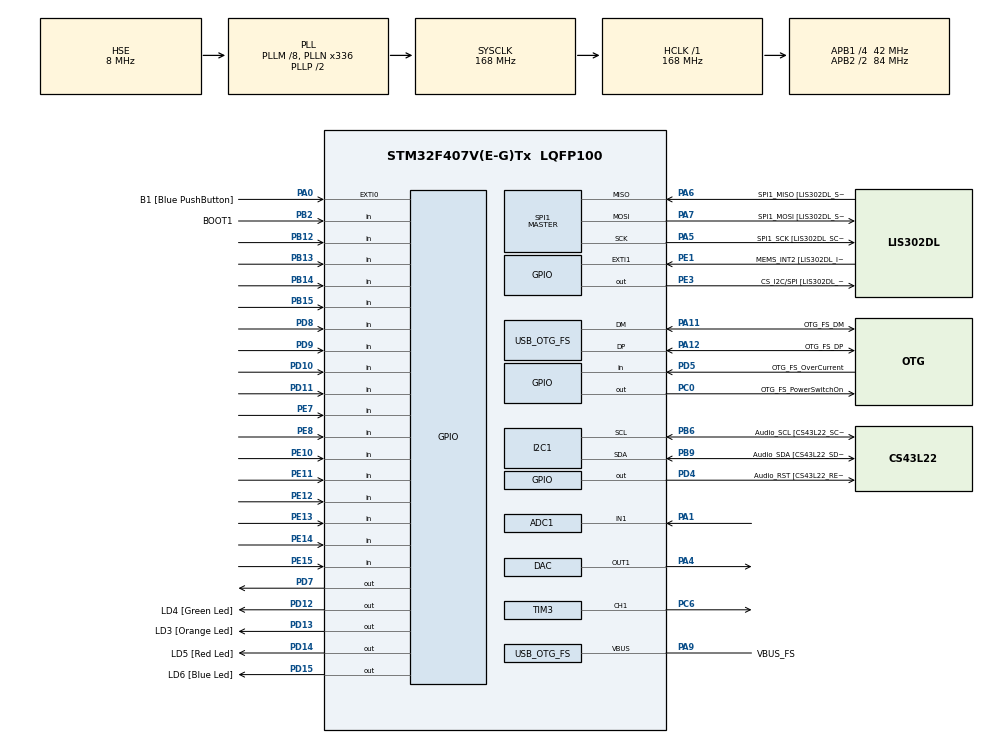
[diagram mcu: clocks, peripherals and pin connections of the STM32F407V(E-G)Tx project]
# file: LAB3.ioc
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ADC1.Channel-0\#ChannelRegularConversion=ADC_CHANNEL_1
ADC1.NbrOfConversionFlag=1
ADC1.Rank-0\#ChannelRegularConversion=1
ADC1.Resolution=ADC_RESOLUTION_10B
ADC1.SamplingTime-0\#ChannelRegularConversion=ADC_SAMPLETIME_3CYCLES
ADC1.master=1
FREERTOS.Tasks01=defaultTask,0,128,StartDefaultTask,Default,NULL
Mcu.Family=STM32F4
Mcu.Name=STM32F407V(E-G)Tx
Mcu.Package=LQFP100
NVIC.ADC_IRQn=true\:5\:0\:false\:false\:true\:true\:true
NVIC.OTG_FS_IRQn=true\:5\:0\:false\:false\:true\:true\:true
NVIC.PriorityGroup=NVIC_PRIORITYGROUP_4
NVIC.TIM1_UP_TIM10_IRQn=true\:0\:0\:false\:false\:true\:false\:true
NVIC.TimeBase=TIM1_UP_TIM10_IRQn
NVIC.TimeBaseIP=TIM1
PA0-WKUP.GPIO_Label=B1 [Blue PushButton]
PA0-WKUP.GPIO_ModeDefaultEXTI=GPIO_MODE_EVT_RISING
PA0-WKUP.GPIO_PuPd=GPIO_NOPULL
PA0-WKUP.Signal=GPXTI0
PA1.Signal=ADCx_IN1
PA10.GPIO_Label=OTG_FS_ID
PA10.GPIO_Mode=GPIO_MODE_AF_PP
PA10.GPIO_PuPd=GPIO_NOPULL
PA10.GPIO_Speed=GPIO_SPEED_FREQ_LOW
PA10.Signal=USB_OTG_FS_ID
PA11.GPIO_Label=OTG_FS_DM
PA11.GPIO_Mode=GPIO_MODE_AF_PP
PA11.GPIO_PuPd=GPIO_NOPULL
PA11.GPIO_Speed=GPIO_SPEED_FREQ_LOW
PA11.Mode=Host_Only
PA11.Signal=USB_OTG_FS_DM
PA12.GPIO_Label=OTG_FS_DP
PA12.GPIO_Mode=GPIO_MODE_AF_PP
PA12.GPIO_PuPd=GPIO_NOPULL
PA12.GPIO_Speed=GPIO_SPEED_FREQ_LOW
PA12.Mode=Host_Only
PA12.Signal=USB_OTG_FS_DP
PA13.GPIO_Label=SWDIO
PA13.Mode=Serial_Wire
PA13.Signal=SYS_JTMS-SWDIO
PA14.GPIO_Label=SWCLK
PA14.Mode=Serial_Wire
PA14.Signal=SYS_JTCK-SWCLK
PA4.Signal=COMP_DAC1_group
PA5.GPIO_Label=SPI1_SCK [LIS302DL_SCL/SPC]
PA5.GPIO_Mode=GPIO_MODE_AF_PP
PA5.GPIO_PuPd=GPIO_NOPULL
PA5.GPIO_Speed=GPIO_SPEED_FREQ_LOW
PA5.Mode=Full_Duplex_Master
PA5.Signal=SPI1_SCK
PA6.GPIO_Label=SPI1_MISO [LIS302DL_SDO]
PA6.GPIO_Mode=GPIO_MODE_AF_PP
PA6.GPIO_PuPd=GPIO_NOPULL
PA6.GPIO_Speed=GPIO_SPEED_FREQ_LOW
PA6.Mode=Full_Duplex_Master
PA6.Signal=SPI1_MISO
PA7.GPIO_Label=SPI1_MOSI [LIS302DL_SDA/SDI/SDO]
PA7.GPIO_Mode=GPIO_MODE_AF_PP
PA7.GPIO_PuPd=GPIO_NOPULL
PA7.GPIO_Speed=GPIO_SPEED_FREQ_LOW
PA7.Mode=Full_Duplex_Master
PA7.Signal=SPI1_MOSI
PA9.GPIO_Label=VBUS_FS
PA9.GPIO_Mode=GPIO_MODE_INPUT
PA9.GPIO_PuPd=GPIO_NOPULL
PA9.Mode=Activate_VBUS
PA9.Signal=USB_OTG_FS_VBUS
PB10.GPIO_Label=CLK_IN [MP45DT02_CLK]
PB10.GPIO_Mode=GPIO_MODE_AF_PP
PB10.GPIO_PuPd=GPIO_NOPULL
PB10.GPIO_Speed=GPIO_SPEED_FREQ_LOW
PB10.Signal=I2S2_CK
PB12.Signal=GPIO_Input
PB13.Signal=GPIO_Input
PB14.Signal=GPIO_Input
PB15.Signal=GPIO_Input
PB2.GPIO_Label=BOOT1
PB2.GPIO_Mode=GPIO_MODE_INPUT
PB2.GPIO_PuPd=GPIO_NOPULL
PB2.Signal=GPIO_Input
PB3.GPIO_Label=SWO
PB3.Signal=SYS_JTDO-SWO
PB6.GPIO_Label=Audio_SCL [CS43L22_SCL]
PB6.GPIO_Mode=GPIO_MODE_AF_OD
PB6.GPIO_PuPd=GPIO_NOPULL
PB6.GPIO_Speed=GPIO_SPEED_FREQ_LOW
PB6.Mode=I2C
PB6.Signal=I2C1_SCL
PB9.GPIO_Label=Audio_SDA [CS43L22_SDA]
PB9.GPIO_Mode=GPIO_MODE_AF_OD
PB9.GPIO_PuPd=GPIO_NOPULL
PB9.GPIO_Speed=GPIO_SPEED_FREQ_LOW
PB9.Mode=I2C
PB9.Signal=I2C1_SDA
PC0.GPIO_Label=OTG_FS_PowerSwitchOn
PC0.GPIO_PuPd=GPIO_NOPULL
PC0.GPIO_Speed=GPIO_SPEED_FREQ_LOW
PC0.PinState=GPIO_PIN_SET
PC0.Signal=GPIO_Output
PC10.GPIO_Label=I2S3_SCK [CS43L22_SCLK]
PC10.GPIO_Mode=GPIO_MODE_AF_PP
PC10.GPIO_PuPd=GPIO_NOPULL
PC10.GPIO_Speed=GPIO_SPEED_FREQ_LOW
PC10.Signal=I2S3_CK
PC12.GPIO_Label=I2S3_SD [CS43L22_SDIN]
PC12.GPIO_Mode=GPIO_MODE_AF_PP
PC12.GPIO_PuPd=GPIO_NOPULL
PC12.GPIO_Speed=GPIO_SPEED_FREQ_LOW
PC12.Signal=I2S3_SD
PC14-OSC32_IN.GPIO_Label=PC14-OSC32_IN
PC14-OSC32_IN.Mode=LSE-External-Oscillator
PC14-OSC32_IN.Signal=RCC_OSC32_IN
PC15-OSC32_OUT.GPIO_Label=PC15-OSC32_OUT
PC15-OSC32_OUT.Mode=LSE-External-Oscillator
PC15-OSC32_OUT.Signal=RCC_OSC32_OUT
PC3.GPIO_Label=PDM_OUT [MP45DT02_DOUT]
PC3.GPIO_Mode=GPIO_MODE_AF_PP
PC3.GPIO_PuPd=GPIO_NOPULL
PC3.GPIO_Speed=GPIO_SPEED_FREQ_LOW
PC3.Signal=I2S2_SD
PC6.Signal=S_TIM3_CH1
PC7.GPIO_Label=I2S3_MCK [CS43L22_MCLK]
PC7.GPIO_Mode=GPIO_MODE_AF_PP
PC7.GPIO_PuPd=GPIO_NOPULL
PC7.GPIO_Speed=GPIO_SPEED_FREQ_LOW
PC7.Signal=I2S3_MCK
PD10.Signal=GPIO_Input
PD11.Signal=GPIO_Input
PD12.GPIO_Label=LD4 [Green Led]
PD12.GPIO_PuPd=GPIO_NOPULL
PD12.GPIO_Speed=GPIO_SPEED_FREQ_LOW
PD12.Signal=GPIO_Output
PD13.GPIO_Label=LD3 [Orange Led]
PD13.GPIO_PuPd=GPIO_NOPULL
PD13.GPIO_Speed=GPIO_SPEED_FREQ_LOW
PD13.Signal=GPIO_Output
PD14.GPIO_Label=LD5 [Red Led]
PD14.GPIO_PuPd=GPIO_NOPULL
PD14.GPIO_Speed=GPIO_SPEED_FREQ_LOW
PD14.Signal=GPIO_Output
PD15.GPIO_Label=LD6 [Blue Led]
PD15.GPIO_PuPd=GPIO_NOPULL
PD15.GPIO_Speed=GPIO_SPEED_FREQ_LOW
PD15.Signal=GPIO_Output
PD4.GPIO_Label=Audio_RST [CS43L22_RESET]
PD4.GPIO_PuPd=GPIO_NOPULL
PD4.GPIO_Speed=GPIO_SPEED_FREQ_LOW
PD4.Signal=GPIO_Output
PD5.GPIO_Label=OTG_FS_OverCurrent
PD5.GPIO_Mode=GPIO_MODE_INPUT
PD5.GPIO_PuPd=GPIO_NOPULL
PD5.Signal=GPIO_Input
PD7.Signal=GPIO_Output
PD8.Signal=GPIO_Input
PD9.Signal=GPIO_Input
PE1.GPIO_Label=MEMS_INT2 [LIS302DL_INT2]
PE1.GPIO_ModeDefaultEXTI=GPIO_MODE_EVT_RISING
PE1.GPIO_PuPd=GPIO_NOPULL
PE1.Signal=GPXTI1
PE10.Signal=GPIO_Input
PE11.Signal=GPIO_Input
PE12.Signal=GPIO_Input
PE13.Signal=GPIO_Input
PE14.Signal=GPIO_Input
PE15.Signal=GPIO_Input
PE3.GPIO_Label=CS_I2C/SPI [LIS302DL_CS_I2C/SPI]
PE3.GPIO_PuPd=GPIO_NOPULL
PE3.GPIO_Speed=GPIO_SPEED_FREQ_LOW
PE3.Signal=GPIO_Output
PE7.Signal=GPIO_Input
PE8.Signal=GPIO_Input
PE9.Signal=S_TIM1_CH1
PH0-OSC_IN.GPIO_Label=PH0-OSC_IN
PH0-OSC_IN.Mode=HSE-External-Oscillator
PH0-OSC_IN.Signal=RCC_OSC_IN
PH1-OSC_OUT.GPIO_Label=PH1-OSC_OUT
PH1-OSC_OUT.Mode=HSE-External-Oscillator
PH1-OSC_OUT.Signal=RCC_OSC_OUT
ProjectManager.HeapSize=0x200
ProjectManager.StackSize=0x400
ProjectManager.TargetToolchain=MDK-ARM V5
RCC.48MHZClocksFreq_Value=48000000
RCC.AHBFreq_Value=168000000
RCC.APB1CLKDivider=RCC_HCLK_DIV4
RCC.APB1Freq_Value=42000000
RCC.APB1TimFreq_Value=84000000
RCC.APB2CLKDivider=RCC_HCLK_DIV2
RCC.APB2Freq_Value=84000000
RCC.APB2TimFreq_Value=168000000
RCC.CortexFreq_Value=168000000
RCC.HCLKFreq_Value=168000000
RCC.HSE_VALUE=8000000
RCC.HSI_VALUE=16000000
RCC.PLLM=8
RCC.PLLN=336
RCC.PLLQ=7
RCC.SYSCLKFreq_VALUE=168000000
RCC.SYSCLKSource=RCC_SYSCLKSOURCE_PLLCLK
RCC.VCOOutputFreq_Value=336000000
SH.ADCx_IN1.0=ADC1_IN1,IN1
SH.COMP_DAC1_group.0=DAC_OUT1,DAC_OUT1
SH.S_TIM1_CH1.0=TIM1_CH1
SH.S_TIM3_CH1.0=TIM3_CH1,PWM Generation1 CH1
SPI1.BaudRatePrescaler-Full_Duplex_Master=SPI_BAUDRATEPRESCALER_2
SPI1.CalculateBaudRate-Full_Duplex_Master=42.0 MBits/s
SPI1.Direction=SPI_DIRECTION_2LINES
SPI1.Mode=SPI_MODE_MASTER
SPI1.Mode-Full_Duplex_Master=SPI_MODE_MASTER
SPI1.VirtualType=VM_MASTER
TIM3.Channel-PWM\ Generation1\ CH1=TIM_CHANNEL_1
USB_HOST.BSP.number=1
USB_HOST.USBH_HandleTypeDef-CDC_FS=hUsbHostFS
USB_HOST.VirtualModeFS=Cdc
USB_HOST0.BSP.STBoard=false
USB_HOST0.BSP.api=UnknownBspDriver
USB_HOST0.BSP.i2caddr=0
USB_HOST0.BSP.i2creg=0
USB_HOST0.BSP.instance=PC0
USB_HOST0.BSP.ip=GPIO
USB_HOST0.BSP.mode=Output
USB_HOST0.BSP.name=Drive_VBUS_FS
USB_HOST0.BSP.solution=PC0
USB_OTG_FS.VirtualMode=Host_Only
USB_OTG_FS.phy_itface=HCD_PHY_EMBEDDED
VP_FREERTOS_VS_ENABLE.Mode=Enabled
VP_SYS_VS_tim1.Mode=TIM1
VP_TIM3_VS_ClockSourceINT.Mode=Internal
VP_USB_HOST_VS_USB_HOST_CDC_FS.Mode=CDC_FS
board=STM32F4DISCOVERY

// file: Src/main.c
/**
  ******************************************************************************
  * @file           : main.c
  * @brief          : Main program body
  ******************************************************************************
  * This notice applies to any and all portions of this file
  * that are not between comment pairs USER CODE BEGIN and
  * USER CODE END. Other portions of this file, whether
  * inserted by the user or by software development tools
  * are owned by their respective copyright owners.
  *
  * Copyright (c) 2018 STMicroelectronics International N.V.
  * All rights reserved.
  *
  * Redistribution and use in source and binary forms, with or without
  * modification, are permitted, provided that the following conditions are met:
  *
  * 1. Redistribution of source code must retain the above copyright notice,
  *    this list of conditions and the following disclaimer.
  * 2. Redistributions in binary form must reproduce the above copyright notice,
  *    this list of conditions and the following disclaimer in the documentation
  *    and/or other materials provided with the distribution.
  * 3. Neither the name of STMicroelectronics nor the names of other
  *    contributors to this software may be used to endorse or promote products
  *    derived from this software without specific written permission.
  * 4. This software, including modifications and/or derivative works of this
  *    software, must execute solely and exclusively on microcontroller or
  *    microprocessor devices manufactured by or for STMicroelectronics.
  * 5. Redistribution and use of this software other than as permitted under
  *    this license is void and will automatically terminate your rights under
  *    this license.
  *
  * THIS SOFTWARE IS PROVIDED BY STMICROELECTRONICS AND CONTRIBUTORS "AS IS"
  * AND ANY EXPRESS, IMPLIED OR STATUTORY WARRANTIES, INCLUDING, BUT NOT
  * LIMITED TO, THE IMPLIED WARRANTIES OF MERCHANTABILITY, FITNESS FOR A
  * PARTICULAR PURPOSE AND NON-INFRINGEMENT OF THIRD PARTY INTELLECTUAL PROPERTY
  * RIGHTS ARE DISCLAIMED TO THE FULLEST EXTENT PERMITTED BY LAW. IN NO EVENT
  * SHALL STMICROELECTRONICS OR CONTRIBUTORS BE LIABLE FOR ANY DIRECT, INDIRECT,
  * INCIDENTAL, SPECIAL, EXEMPLARY, OR CONSEQUENTIAL DAMAGES (INCLUDING, BUT NOT
  * LIMITED TO, PROCUREMENT OF SUBSTITUTE GOODS OR SERVICES; LOSS OF USE, DATA,
  * OR PROFITS; OR BUSINESS INTERRUPTION) HOWEVER CAUSED AND ON ANY THEORY OF
  * LIABILITY, WHETHER IN CONTRACT, STRICT LIABILITY, OR TORT (INCLUDING
  * NEGLIGENCE OR OTHERWISE) ARISING IN ANY WAY OUT OF THE USE OF THIS SOFTWARE,
  * EVEN IF ADVISED OF THE POSSIBILITY OF SUCH DAMAGE.
  *
  ******************************************************************************
  */
#include "main.h"
#include "stm32f4xx_hal.h"
#include "cmsis_os.h"
#include "usb_host.h"

/* USER CODE BEGIN Includes */

#include "main.h"
#include "stm32f4xx_hal.h"
#include "cmsis_os.h"
#include "keypad.h"
#include "LED.h"
#include "math.h"

/* 7-SEGMENT DISPLAY OUTPUT PINS - GPIOE */
#define SEG_A GPIO_PIN_7
#define SEG_B GPIO_PIN_8
#define SEG_C GPIO_PIN_1 //GPIOB
#define SEG_D GPIO_PIN_10
#define SEG_E GPIO_PIN_11
#define SEG_F GPIO_PIN_12
#define SEG_G GPIO_PIN_13
#define SEG_DP GPIO_PIN_14
#define SEG_OUT1 GPIO_PIN_2
#define SEG_OUT2 GPIO_PIN_4
#define SEG_OUT3 GPIO_PIN_5
#define SEG_OUT4 GPIO_PIN_6

#define ADC_RES 8

#define MAX(a,b) (((a)>(b))?(a):(b))

/* CALCULATE DESIRED PWM_PERIOD USING
 *      PWM_PERIOD = 84MHz / Desired_Freq
 */

#define PWM_PERIOD 168 // 500kHz

/* USER CODE END Includes */

ADC_HandleTypeDef hadc1;

DAC_HandleTypeDef hdac;

I2C_HandleTypeDef hi2c1;

SPI_HandleTypeDef hspi1;

TIM_HandleTypeDef htim3;

osThreadId defaultTaskHandle;

/* USER CODE BEGIN PV */
/* Private variables ---------------------------------------------------------*/

osThreadId myTask02Handle;
osThreadId myTask03Handle;
osThreadId myTask04Handle;

volatile int debounce = 0;
enum State {Wait, Output, Sleep};
enum State state = Wait;
int debounce_mod = 600;

volatile int sample_counter = 0;
int x[] = {0, 0, 0, 0, 0};

/* FIR Coefficients */
int coeff_len = 5;
float coeff[5] = {0.2, 0.2, 0.2, 0.2, 0.2};

/* RMS tracker */
float rms_counter = 0.0;
float rms[10] = {0, 0, 0, 0, 0, 0, 0, 0, 0, 0};
volatile int voltage = 0;

volatile float duty_cycle = 1.0;

/* Counter to wait for update before updating the ADC */
int count = 0;

/* STAR key variables */
int key = -1;
int key_star_counter = 0 ;
int star_flag = 0 ; //flag that star was previously pressed
int star_release_debounce = 0 ; //avoid release misreadings

/* display digits */
int first_digit, second_digit, third_digit;

float res_filter = 0.0;

int results = 0;
int adc_voltage = 0;

uint32_t MySig = 0;

/* Duty Cycle calculation weights (From Linear Regression) */
float w1 = 1.57991255;
float w0 = 0.9042846;

/* USER CODE END PV */

void SystemClock_Config(void);
static void MX_GPIO_Init(void);
static void MX_I2C1_Init(void);
static void MX_SPI1_Init(void);
static void MX_ADC1_Init(void);
static void MX_DAC_Init(void);
static void MX_TIM3_Init(void);

void HAL_TIM_MspPostInit(TIM_HandleTypeDef *htim);

/* USER CODE BEGIN PFP */
/* Private function prototypes -----------------------------------------------*/

/* PFP for Threads */
void StartDefaultTask(void const * argument);
void StartTask02(void const * argument);
void StartTask03(void const * argument);
void StartTask04(void const * argument);

int update_voltage(int digit, int action);
void FIR_C(int input, float *output);
void adjust_pwm(int voltage);
void update_duty_cycle(float duty);

/* USER CODE END PFP */

int main(void)
{

  /* MCU Configuration----------------------------------------------------------*/

  /* Reset of all peripherals, Initializes the Flash interface and the Systick. */
  HAL_Init();

  /* Configure the system clock */
  SystemClock_Config();

  /* Initialize all configured peripherals */
  MX_GPIO_Init();
  MX_I2C1_Init();
  MX_SPI1_Init();
  MX_ADC1_Init();
  MX_DAC_Init();
  MX_TIM3_Init();
  /* USER CODE BEGIN 2 */
	HAL_TIM_PWM_Start(&htim3, TIM_CHANNEL_1);
  /* USER CODE END 2 */

  /* Create the thread(s) */
  /* definition and creation of defaultTask */
  osThreadDef(defaultTask, StartDefaultTask, osPriorityNormal, 0, 128);
  defaultTaskHandle = osThreadCreate(osThread(defaultTask), NULL);

  /* USER CODE BEGIN RTOS_THREADS */

  /* definition and creation of myTask02 */
  osThreadDef(myTask02, StartTask02, osPriorityNormal, 0, 128);
  myTask02Handle = osThreadCreate(osThread(myTask02), NULL);

	/* definition and creation of myTask04 */
  osThreadDef(myTask04, StartTask04, osPriorityNormal, 0, 128);
  myTask04Handle = osThreadCreate(osThread(myTask04), NULL);

  /* definition and creation of myTask03 */
  osThreadDef(myTask03, StartTask03, osPriorityHigh, 0, 256);
  myTask03Handle = osThreadCreate(osThread(myTask03), NULL);
  /* USER CODE END RTOS_THREADS */

  /* Start scheduler */
  osKernelStart();

  /* We should never get here as control is now taken by the scheduler */

  /* Infinite loop */
  while (1)
  {

  }

}

void SystemClock_Config(void)
{

  RCC_OscInitTypeDef RCC_OscInitStruct;
  RCC_ClkInitTypeDef RCC_ClkInitStruct;

    /**Configure the main internal regulator output voltage
    */
  __HAL_RCC_PWR_CLK_ENABLE();

  __HAL_PWR_VOLTAGESCALING_CONFIG(PWR_REGULATOR_VOLTAGE_SCALE1);

    /**Initializes the CPU, AHB and APB busses clocks
    */
  RCC_OscInitStruct.OscillatorType = RCC_OSCILLATORTYPE_HSE;
  RCC_OscInitStruct.HSEState = RCC_HSE_ON;
  RCC_OscInitStruct.PLL.PLLState = RCC_PLL_ON;
  RCC_OscInitStruct.PLL.PLLSource = RCC_PLLSOURCE_HSE;
  RCC_OscInitStruct.PLL.PLLM = 8;
  RCC_OscInitStruct.PLL.PLLN = 336;
  RCC_OscInitStruct.PLL.PLLP = RCC_PLLP_DIV2;
  RCC_OscInitStruct.PLL.PLLQ = 7;
  if (HAL_RCC_OscConfig(&RCC_OscInitStruct) != HAL_OK)
  {
    _Error_Handler(__FILE__, __LINE__);
  }

    /**Initializes the CPU, AHB and APB busses clocks
    */
  RCC_ClkInitStruct.ClockType = RCC_CLOCKTYPE_HCLK|RCC_CLOCKTYPE_SYSCLK
                              |RCC_CLOCKTYPE_PCLK1|RCC_CLOCKTYPE_PCLK2;
  RCC_ClkInitStruct.SYSCLKSource = RCC_SYSCLKSOURCE_PLLCLK;
  RCC_ClkInitStruct.AHBCLKDivider = RCC_SYSCLK_DIV1;
  RCC_ClkInitStruct.APB1CLKDivider = RCC_HCLK_DIV4;
  RCC_ClkInitStruct.APB2CLKDivider = RCC_HCLK_DIV2;

  if (HAL_RCC_ClockConfig(&RCC_ClkInitStruct, FLASH_LATENCY_5) != HAL_OK)
  {
    _Error_Handler(__FILE__, __LINE__);
  }

    /**Configure the Systick interrupt time
    */
  HAL_SYSTICK_Config(HAL_RCC_GetHCLKFreq()/1000);

    /**Configure the Systick
    */
  HAL_SYSTICK_CLKSourceConfig(SYSTICK_CLKSOURCE_HCLK);

  /* SysTick_IRQn interrupt configuration */
  HAL_NVIC_SetPriority(SysTick_IRQn, 15, 0);
}

/* ADC1 init function */
static void MX_ADC1_Init(void)
{

  ADC_ChannelConfTypeDef sConfig;

    /**Configure the global features of the ADC (Clock, Resolution, Data Alignment and number of conversion)
    */
  hadc1.Instance = ADC1;
  hadc1.Init.ClockPrescaler = ADC_CLOCK_SYNC_PCLK_DIV4;
  hadc1.Init.Resolution = ADC_RESOLUTION_8B;
  hadc1.Init.ScanConvMode = DISABLE;
  hadc1.Init.ContinuousConvMode = DISABLE;
  hadc1.Init.DiscontinuousConvMode = DISABLE;
  hadc1.Init.ExternalTrigConvEdge = ADC_EXTERNALTRIGCONVEDGE_NONE;
  hadc1.Init.ExternalTrigConv = ADC_SOFTWARE_START;
  hadc1.Init.DataAlign = ADC_DATAALIGN_RIGHT;
  hadc1.Init.NbrOfConversion = 1;
  hadc1.Init.DMAContinuousRequests = DISABLE;
  hadc1.Init.EOCSelection = ADC_EOC_SINGLE_CONV;
  if (HAL_ADC_Init(&hadc1) != HAL_OK)
  {
    _Error_Handler(__FILE__, __LINE__);
  }

    /**Configure for the selected ADC regular channel its corresponding rank in the sequencer and its sample time.
    */
  sConfig.Channel = ADC_CHANNEL_1;
  sConfig.Rank = 1;
  sConfig.SamplingTime = ADC_SAMPLETIME_3CYCLES;
  if (HAL_ADC_ConfigChannel(&hadc1, &sConfig) != HAL_OK)
  {
    _Error_Handler(__FILE__, __LINE__);
  }

}

/* DAC init function */
static void MX_DAC_Init(void)
{

  DAC_ChannelConfTypeDef sConfig;

    /**DAC Initialization
    */
  hdac.Instance = DAC;
  if (HAL_DAC_Init(&hdac) != HAL_OK)
  {
    _Error_Handler(__FILE__, __LINE__);
  }

    /**DAC channel OUT1 config
    */
  sConfig.DAC_Trigger = DAC_TRIGGER_NONE;
  sConfig.DAC_OutputBuffer = DAC_OUTPUTBUFFER_ENABLE;
  if (HAL_DAC_ConfigChannel(&hdac, &sConfig, DAC_CHANNEL_1) != HAL_OK)
  {
    _Error_Handler(__FILE__, __LINE__);
  }

}

/* I2C1 init function */
static void MX_I2C1_Init(void)
{

  hi2c1.Instance = I2C1;
  hi2c1.Init.ClockSpeed = 100000;
  hi2c1.Init.DutyCycle = I2C_DUTYCYCLE_2;
  hi2c1.Init.OwnAddress1 = 0;
  hi2c1.Init.AddressingMode = I2C_ADDRESSINGMODE_7BIT;
  hi2c1.Init.DualAddressMode = I2C_DUALADDRESS_DISABLE;
  hi2c1.Init.OwnAddress2 = 0;
  hi2c1.Init.GeneralCallMode = I2C_GENERALCALL_DISABLE;
  hi2c1.Init.NoStretchMode = I2C_NOSTRETCH_DISABLE;
  if (HAL_I2C_Init(&hi2c1) != HAL_OK)
  {
    _Error_Handler(__FILE__, __LINE__);
  }

}

/* SPI1 init function */
static void MX_SPI1_Init(void)
{

  /* SPI1 parameter configuration*/
  hspi1.Instance = SPI1;
  hspi1.Init.Mode = SPI_MODE_MASTER;
  hspi1.Init.Direction = SPI_DIRECTION_2LINES;
  hspi1.Init.DataSize = SPI_DATASIZE_8BIT;
  hspi1.Init.CLKPolarity = SPI_POLARITY_LOW;
  hspi1.Init.CLKPhase = SPI_PHASE_1EDGE;
  hspi1.Init.NSS = SPI_NSS_SOFT;
  hspi1.Init.BaudRatePrescaler = SPI_BAUDRATEPRESCALER_2;
  hspi1.Init.FirstBit = SPI_FIRSTBIT_MSB;
  hspi1.Init.TIMode = SPI_TIMODE_DISABLE;
  hspi1.Init.CRCCalculation = SPI_CRCCALCULATION_DISABLE;
  hspi1.Init.CRCPolynomial = 10;
  if (HAL_SPI_Init(&hspi1) != HAL_OK)
  {
    _Error_Handler(__FILE__, __LINE__);
  }

}

/* TIM3 init function */
static void MX_TIM3_Init(void)
{

  TIM_ClockConfigTypeDef sClockSourceConfig;
  TIM_MasterConfigTypeDef sMasterConfig;
  TIM_OC_InitTypeDef sConfigOC;

  htim3.Instance = TIM3;
  htim3.Init.Prescaler = 0;
  htim3.Init.CounterMode = TIM_COUNTERMODE_UP;
  htim3.Init.Period = PWM_PERIOD;
  htim3.Init.ClockDivision = TIM_CLOCKDIVISION_DIV1;
  if (HAL_TIM_Base_Init(&htim3) != HAL_OK)
  {
    _Error_Handler(__FILE__, __LINE__);
  }

  sClockSourceConfig.ClockSource = TIM_CLOCKSOURCE_INTERNAL;
  if (HAL_TIM_ConfigClockSource(&htim3, &sClockSourceConfig) != HAL_OK)
  {
    _Error_Handler(__FILE__, __LINE__);
  }

  if (HAL_TIM_PWM_Init(&htim3) != HAL_OK)
  {
    _Error_Handler(__FILE__, __LINE__);
  }

  sMasterConfig.MasterOutputTrigger = TIM_TRGO_RESET;
  sMasterConfig.MasterSlaveMode = TIM_MASTERSLAVEMODE_DISABLE;
  if (HAL_TIMEx_MasterConfigSynchronization(&htim3, &sMasterConfig) != HAL_OK)
  {
    _Error_Handler(__FILE__, __LINE__);
  }

  sConfigOC.OCMode = TIM_OCMODE_PWM1;
  sConfigOC.Pulse = 0;
  sConfigOC.OCPolarity = TIM_OCPOLARITY_HIGH;
  sConfigOC.OCFastMode = TIM_OCFAST_DISABLE;
  if (HAL_TIM_PWM_ConfigChannel(&htim3, &sConfigOC, TIM_CHANNEL_1) != HAL_OK)
  {
    _Error_Handler(__FILE__, __LINE__);
  }

  HAL_TIM_MspPostInit(&htim3);

}

/** Configure pins as
        * Analog
        * Input
        * Output
        * EVENT_OUT
        * EXTI
     PC3   ------> I2S2_SD
     PE9   ------> S_TIM1_CH1
     PB10   ------> I2S2_CK
     PC7   ------> I2S3_MCK
     PC10   ------> I2S3_CK
     PC12   ------> I2S3_SD
*/
static void MX_GPIO_Init(void)
{

  GPIO_InitTypeDef GPIO_InitStruct;

  /* GPIO Ports Clock Enable */
  __HAL_RCC_GPIOE_CLK_ENABLE();
  __HAL_RCC_GPIOC_CLK_ENABLE();
  __HAL_RCC_GPIOH_CLK_ENABLE();
  __HAL_RCC_GPIOA_CLK_ENABLE();
  __HAL_RCC_GPIOB_CLK_ENABLE();
  __HAL_RCC_GPIOD_CLK_ENABLE();

  /*Configure GPIO pin Output Level */
  HAL_GPIO_WritePin(CS_I2C_SPI_GPIO_Port, CS_I2C_SPI_Pin, GPIO_PIN_RESET);

  /*Configure GPIO pin Output Level */
  HAL_GPIO_WritePin(OTG_FS_PowerSwitchOn_GPIO_Port, OTG_FS_PowerSwitchOn_Pin, GPIO_PIN_SET);

  /*Configure GPIO pin Output Level */
  HAL_GPIO_WritePin(GPIOD, LD4_Pin|LD3_Pin|LD5_Pin|LD6_Pin
                          |Audio_RST_Pin|GPIO_PIN_7, GPIO_PIN_RESET);

  /*Configure GPIO pin : CS_I2C_SPI_Pin */
  GPIO_InitStruct.Pin = CS_I2C_SPI_Pin;
  GPIO_InitStruct.Mode = GPIO_MODE_OUTPUT_PP;
  GPIO_InitStruct.Pull = GPIO_NOPULL;
  GPIO_InitStruct.Speed = GPIO_SPEED_FREQ_LOW;
  HAL_GPIO_Init(CS_I2C_SPI_GPIO_Port, &GPIO_InitStruct);

  /*Configure GPIO pin : OTG_FS_PowerSwitchOn_Pin */
  GPIO_InitStruct.Pin = OTG_FS_PowerSwitchOn_Pin;
  GPIO_InitStruct.Mode = GPIO_MODE_OUTPUT_PP;
  GPIO_InitStruct.Pull = GPIO_NOPULL;
  GPIO_InitStruct.Speed = GPIO_SPEED_FREQ_LOW;
  HAL_GPIO_Init(OTG_FS_PowerSwitchOn_GPIO_Port, &GPIO_InitStruct);

  /*Configure GPIO pin : PDM_OUT_Pin */
  GPIO_InitStruct.Pin = PDM_OUT_Pin;
  GPIO_InitStruct.Mode = GPIO_MODE_AF_PP;
  GPIO_InitStruct.Pull = GPIO_NOPULL;
  GPIO_InitStruct.Speed = GPIO_SPEED_FREQ_LOW;
  GPIO_InitStruct.Alternate = GPIO_AF5_SPI2;
  HAL_GPIO_Init(PDM_OUT_GPIO_Port, &GPIO_InitStruct);

  /*Configure GPIO pin : B1_Pin */
  GPIO_InitStruct.Pin = B1_Pin;
  GPIO_InitStruct.Mode = GPIO_MODE_EVT_RISING;
  GPIO_InitStruct.Pull = GPIO_NOPULL;
  HAL_GPIO_Init(B1_GPIO_Port, &GPIO_InitStruct);

  /*Configure GPIO pins : BOOT1_Pin PB12 PB13 PB14
                           PB15 */
  GPIO_InitStruct.Pin = BOOT1_Pin|GPIO_PIN_12|GPIO_PIN_13|GPIO_PIN_14
                          |GPIO_PIN_15;
  GPIO_InitStruct.Mode = GPIO_MODE_INPUT;
  GPIO_InitStruct.Pull = GPIO_NOPULL;
  HAL_GPIO_Init(GPIOB, &GPIO_InitStruct);

  /*Configure GPIO pins : PE7 PE8 PE10 PE11
                           PE12 PE13 PE14 PE15 */
  GPIO_InitStruct.Pin = GPIO_PIN_7|GPIO_PIN_8|GPIO_PIN_10|GPIO_PIN_11
                          |GPIO_PIN_12|GPIO_PIN_13|GPIO_PIN_14|GPIO_PIN_15;
  GPIO_InitStruct.Mode = GPIO_MODE_INPUT;
  GPIO_InitStruct.Pull = GPIO_NOPULL;
  HAL_GPIO_Init(GPIOE, &GPIO_InitStruct);

  /*Configure GPIO pin : PE9 */
  GPIO_InitStruct.Pin = GPIO_PIN_9;
  GPIO_InitStruct.Mode = GPIO_MODE_AF_PP;
  GPIO_InitStruct.Pull = GPIO_NOPULL;
  GPIO_InitStruct.Speed = GPIO_SPEED_FREQ_LOW;
  GPIO_InitStruct.Alternate = GPIO_AF1_TIM1;
  HAL_GPIO_Init(GPIOE, &GPIO_InitStruct);

  /*Configure GPIO pin : CLK_IN_Pin */
  GPIO_InitStruct.Pin = CLK_IN_Pin;
  GPIO_InitStruct.Mode = GPIO_MODE_AF_PP;
  GPIO_InitStruct.Pull = GPIO_NOPULL;
  GPIO_InitStruct.Speed = GPIO_SPEED_FREQ_LOW;
  GPIO_InitStruct.Alternate = GPIO_AF5_SPI2;
  HAL_GPIO_Init(CLK_IN_GPIO_Port, &GPIO_InitStruct);

  /*Configure GPIO pins : PD8 PD9 PD10 PD11
                           OTG_FS_OverCurrent_Pin */
  GPIO_InitStruct.Pin = GPIO_PIN_8|GPIO_PIN_9|GPIO_PIN_10|GPIO_PIN_11
                          |OTG_FS_OverCurrent_Pin;
  GPIO_InitStruct.Mode = GPIO_MODE_INPUT;
  GPIO_InitStruct.Pull = GPIO_NOPULL;
  HAL_GPIO_Init(GPIOD, &GPIO_InitStruct);

  /*Configure GPIO pins : LD4_Pin LD3_Pin LD5_Pin LD6_Pin
                           Audio_RST_Pin PD7 */
  GPIO_InitStruct.Pin = LD4_Pin|LD3_Pin|LD5_Pin|LD6_Pin
                          |Audio_RST_Pin|GPIO_PIN_7;
  GPIO_InitStruct.Mode = GPIO_MODE_OUTPUT_PP;
  GPIO_InitStruct.Pull = GPIO_NOPULL;
  GPIO_InitStruct.Speed = GPIO_SPEED_FREQ_LOW;
  HAL_GPIO_Init(GPIOD, &GPIO_InitStruct);

  /*Configure GPIO pins : I2S3_MCK_Pin I2S3_SCK_Pin I2S3_SD_Pin */
  GPIO_InitStruct.Pin = I2S3_MCK_Pin|I2S3_SCK_Pin|I2S3_SD_Pin;
  GPIO_InitStruct.Mode = GPIO_MODE_AF_PP;
  GPIO_InitStruct.Pull = GPIO_NOPULL;
  GPIO_InitStruct.Speed = GPIO_SPEED_FREQ_LOW;
  GPIO_InitStruct.Alternate = GPIO_AF6_SPI3;
  HAL_GPIO_Init(GPIOC, &GPIO_InitStruct);

  /*Configure GPIO pin : MEMS_INT2_Pin */
  GPIO_InitStruct.Pin = MEMS_INT2_Pin;
  GPIO_InitStruct.Mode = GPIO_MODE_EVT_RISING;
  GPIO_InitStruct.Pull = GPIO_NOPULL;
  HAL_GPIO_Init(MEMS_INT2_GPIO_Port, &GPIO_InitStruct);

	/*KEYPAD COL GPIO PINS */
	/*Configure GPIO pins : BOOT1_Pin PB12 PB13 PB14
	 PB15 */
	GPIO_InitStruct.Pin = BOOT1_Pin|GPIO_PIN_12|GPIO_PIN_13|GPIO_PIN_14|GPIO_PIN_15;
	GPIO_InitStruct.Mode = GPIO_MODE_OUTPUT_PP;
	GPIO_InitStruct.Pull = GPIO_NOPULL;
	HAL_GPIO_Init(GPIOB, &GPIO_InitStruct);

	/*KEYPAD ROW GPIO PINS */
	/*Configure GPIO pins : PD8 PD9 PD10 PD11
	 OTG_FS_OverCurrent_Pin */
	GPIO_InitStruct.Pin = GPIO_PIN_8|GPIO_PIN_9|GPIO_PIN_10|GPIO_PIN_11 |OTG_FS_OverCurrent_Pin;
	GPIO_InitStruct.Mode = GPIO_MODE_OUTPUT_PP;
	GPIO_InitStruct.Pull = GPIO_NOPULL;
	HAL_GPIO_Init(GPIOD, &GPIO_InitStruct);

	//7-segment display
	GPIO_InitStruct.Pin = SEG_A | SEG_B | SEG_D | SEG_E | SEG_F | SEG_G | SEG_DP | SEG_OUT1 | SEG_OUT2 | SEG_OUT3 | SEG_OUT4 ;
	GPIO_InitStruct.Mode = GPIO_MODE_OUTPUT_PP; //push pull mode
	GPIO_InitStruct.Pull = GPIO_NOPULL; // no pull cause already push pull
	GPIO_InitStruct.Speed = GPIO_SPEED_FREQ_HIGH;

	HAL_GPIO_Init(GPIOE, &GPIO_InitStruct);
	HAL_GPIO_WritePin(GPIOE, SEG_A | SEG_B | SEG_D | SEG_E | SEG_F | SEG_G | SEG_DP | SEG_OUT1 | SEG_OUT2 | SEG_OUT3 | SEG_OUT4, GPIO_PIN_RESET);

	GPIO_InitStruct.Pin = SEG_C ;
	GPIO_InitStruct.Mode = GPIO_MODE_OUTPUT_PP; //push pull mode
	GPIO_InitStruct.Pull = GPIO_NOPULL; // no pull cause already push pull
	GPIO_InitStruct.Speed = GPIO_SPEED_FREQ_HIGH;

	HAL_GPIO_Init(GPIOB, &GPIO_InitStruct);
	HAL_GPIO_WritePin(GPIOB, SEG_C, GPIO_PIN_RESET);

}

/* USER CODE BEGIN 4 */

/**
 * @brief  This function updates the voltage
 *          action 1: delete last digit
 *          action 0: add new digit (max three digits)
 * @param  int digit, int action
 * @retval int new voltage
 */

int update_voltage(int digit, int action){
	//deleted the last digit
	if(action == 1){
		return voltage / 10;
	}
	printf("%d \n",  (voltage * 10 + digit) % 1000);
	return (voltage * 10 + digit) % 1000;
}

/**
 * @brief  FIR Filter takes in integer inputs serially and returns the filtered data (output)
 * @param  integer input, output address (pointer to index in output array)
 * @retval None
 */
void FIR_C(int input, float *output) {
  // Shift all x to the left
  for(int i = 0 ; i < 4 ; i++){
      x[i] = x[i + 1];
  }

  //update x[4] with new input
  x[4] = input;

  //calculate output
  *output = 0 ;
  for(int i = 0 ; i < 5 ; i++){
      *output = *output + x[i] * coeff[i];
  }
}

/**
 * @brief  Update PWM pulse duty cycle to get desired voltage
 * @param  int voltage
 * @retval None
 */

void adjust_pwm(int voltage) {
	duty_cycle = (voltage / 100.0 - w0) / w1;
  // 0 < duty_cycle < 1
	if(duty_cycle < 0.0) duty_cycle = 0.0;
	else if(duty_cycle > 1.0) duty_cycle = 1.0;

	update_duty_cycle(duty_cycle);
}

void update_duty_cycle(float duty){
	TIM_OC_InitTypeDef sConfigOC;
	sConfigOC.Pulse = duty * PWM_PERIOD;
	sConfigOC.OCMode = TIM_OCMODE_PWM1;
	sConfigOC.OCPolarity = TIM_OCPOLARITY_HIGH;
	sConfigOC.OCFastMode = TIM_OCFAST_DISABLE;
	if (HAL_TIM_PWM_ConfigChannel(&htim3, &sConfigOC, TIM_CHANNEL_1) != HAL_OK)
	{
		_Error_Handler(__FILE__, __LINE__);
	}

	HAL_TIM_MspPostInit(&htim3);
	HAL_TIM_PWM_Start(&htim3, TIM_CHANNEL_1);

}

/* USER CODE END 4 */

/* StartDefaultTask function */ //ADC
void StartDefaultTask(void const * argument)
{
  /* init code for USB_HOST */
  MX_USB_HOST_Init();

  /* USER CODE BEGIN 5 */
  /* Infinite loop */
  for(;;)
  {
    osDelay(20);

		HAL_ADC_Start(&hadc1);
		int adc_value = 0;
				//polling data of sensor
		if (HAL_ADC_PollForConversion(&hadc1, 10000) == HAL_OK){
				adc_value = HAL_ADC_GetValue(&hadc1);
		}
		HAL_ADC_Stop(&hadc1);

		//printf("%d\n", adc_value);

		FIR_C(adc_value, &res_filter);
		adc_voltage = 300 * res_filter / ((1 << ADC_RES) - 1);

		for(int i = 0 ; i < 9 ; i++){
				rms[i] = rms[i + 1];
		}
		rms[9] = adc_voltage * adc_voltage;
		rms_counter = rms_counter + 1.0;
		float sum = 0;

		for(int k = 0 ; k < 10 ; k++){
			sum += rms[k];
		}
		count = (count + 1) % 500;
		adc_voltage = sqrt(sum / ((rms_counter < 10) ? rms_counter : 10));

  }
  /* USER CODE END 5 */
}

/* USER CODE BEGIN 6 */
/* StartTask03 function */ 	//Keypad
void StartTask03(void const * argument)
{

  for(;;)
  {
    osDelay(200); //read keypad every 200ms
		if(debounce > 0){
			debounce = (debounce + 1) % debounce_mod;
		}
		key = get_key();

		/* Always check for STAR inputs */
		if(key != STAR && star_flag == 1) {
			if(star_release_debounce < 2){
				star_release_debounce++;
			}
			else{
				star_flag = 0;

         /* STAR KEY pressed for 1-2 seconds (medium press)*/
				if(key_star_counter > 3 && key_star_counter <  10){
					state = Wait;

         // set output voltage to 0
          adjust_pwm(0);

					osThreadResume(defaultTaskHandle);
					osThreadResume(myTask02Handle);
					osThreadResume(myTask04Handle);

					printf("Go to state Wait\n");
				}
				key_star_counter = 0;
				star_release_debounce = 0;
			}
		}
		if(key == STAR){
			star_release_debounce = 0;
			key_star_counter++;

      /* STAR KEY quickly pressed (short press)*/
			if (state == Wait){
				voltage = update_voltage(0, 1);
			}
			if(star_flag == 1){
				 /* STAR KEY pressed for over 3 seconds (long press)*/
				if (key_star_counter >  10){
				state = Sleep;
        //set output voltage to 0
        adjust_pwm(0);

				printf("Go to state Sleep\n");
				}
			}
			star_flag = 1;
		}

        switch(state){
            case Wait:
                /* update voltage on input */
                if(key > -1 && key < 20){
                    voltage = update_voltage(key, 0);
                    printf("voltage : %d \n", voltage);
                }
                /* enter voltage */
                else if(key == POUND){
                    results = voltage;
                    state = Output;
                }
                break;

            case Output:
								printf("voltage entered: %d \n", results);
								adjust_pwm(voltage);
								printf("duty-cycle:%f \n", duty_cycle);

								count = 0 ;
                voltage = 0 ;

                state = Wait;
                break;

            case Sleep:
                voltage = 0 ;
								/* Turn off screen */
								reset_display();
								osThreadSuspend(defaultTaskHandle);
								osThreadSuspend(myTask02Handle);
								osThreadSuspend(myTask04Handle);
                break;

            default:
                break;

			}
		}
  }

/* StartTask02 function */  //LED
void StartTask02(void const * argument)
{

  for(;;)
  {
		static int digit_update = 0 ;
		if(digit_update == 0){
			/* Update the display digits */
			first_digit = (adc_voltage / 100 ) % 10 ;
			second_digit = (adc_voltage / 10) % 10 ;
			third_digit = adc_voltage % 10 ;
		}

		digit_update = (digit_update + 1) % 30;

		/* Display the voltage on the LED screen */
		display(first_digit, 2);
		osDelay(6);
		display(second_digit, 3);
		osDelay(6);
		display(third_digit, 4);
		osDelay(6);
		reset_display();
  }

}

/* StartTask04 function */ 	//Update PWM
void StartTask04(void const * argument)
{
	for(;;){
			osDelay(20);
			if(abs(adc_voltage - results) > MAX(voltage / 20, 10)){
				duty_cycle = duty_cycle + (results - adc_voltage) * 0.0001;

				if(duty_cycle < 0.0) duty_cycle = 0.0;
				else if(duty_cycle > 1.0) duty_cycle = 1.0;

				update_duty_cycle(duty_cycle);
		}
	}
}

/* USER CODE END 6*/

/**
  * @brief  Period elapsed callback in non blocking mode
  * @note   This function is called  when TIM1 interrupt took place, inside
  * HAL_TIM_IRQHandler(). It makes a direct call to HAL_IncTick() to increment
  * a global variable "uwTick" used as application time base.
  * @param  htim : TIM handle
  * @retval None
  */
void HAL_TIM_PeriodElapsedCallback(TIM_HandleTypeDef *htim)
{
  /* USER CODE BEGIN Callback 0 */

  /* USER CODE END Callback 0 */
  if (htim->Instance == TIM1) {
    HAL_IncTick();
  }
  /* USER CODE BEGIN Callback 1 */

  /* USER CODE END Callback 1 */
}

/**
  * @brief  This function is executed in case of error occurrence.
  * @param  file: The file name as string.
  * @param  line: The line in file as a number.
  * @retval None
  */
void _Error_Handler(char *file, int line)
{
  /* USER CODE BEGIN Error_Handler_Debug */
  /* User can add his own implementation to report the HAL error return state */
  while(1)
  {
  }
  /* USER CODE END Error_Handler_Debug */
}

#ifdef  USE_FULL_ASSERT
/**
  * @brief  Reports the name of the source file and the source line number
  *         where the assert_param error has occurred.
  * @param  file: pointer to the source file name
  * @param  line: assert_param error line source number
  * @retval None
  */
void assert_failed(uint8_t* file, uint32_t line)
{
  /* USER CODE BEGIN 6 */
  /* User can add his own implementation to report the file name and line number,
     tex: printf("Wrong parameters value: file %s on line %d\r\n", file, line) */
  /* USER CODE END 6 */
}
#endif /* USE_FULL_ASSERT */

/************************ (C) COPYRIGHT STMicroelectronics *****END OF FILE****/
